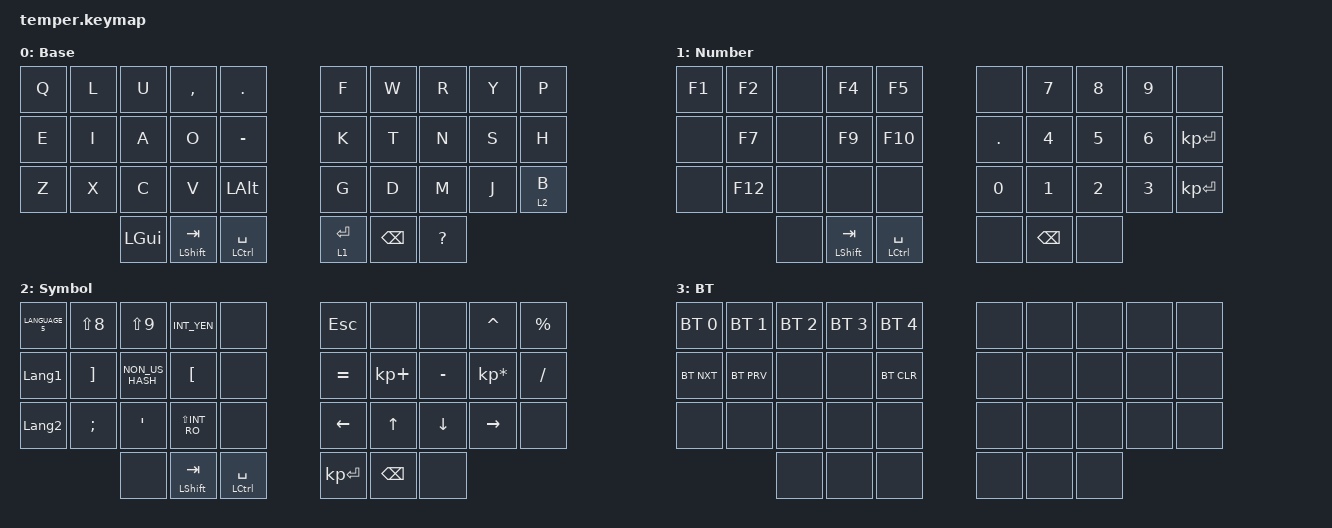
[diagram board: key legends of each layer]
#include <behaviors.dtsi>
#include <dt-bindings/zmk/bt.h>
#include <dt-bindings/zmk/keys.h>

/ {
    combos {
        compatible = "zmk,combos";

        comb.exc {
            bindings = <&kp EXCLAMATION>;
            key-positions = <35 31>;
        };

        comb.del {
            bindings = <&kp DELETE>;
            key-positions = <31 34>;
        };

        layer {
            bindings = <&mo 3>;
            key-positions = <24 23>;
        };
    };

    keymap {
        compatible = "zmk,keymap";

        layer_0 {
            display-name = "Base";
            bindings = <
&kp Q  &kp L  &kp U     &kp COMMA           &kp PERIOD              &kp F        &kp W          &kp R         &kp Y  &kp P
&kp E  &kp I  &kp A     &kp O               &kp MINUS               &kp K        &kp T          &kp N         &kp S  &kp H
&kp Z  &kp X  &kp C     &kp V               &kp LEFT_ALT            &kp G        &kp D          &kp M         &kp J  &lt 2 B
              &kp LGUI  &mt LEFT_SHIFT TAB  &mt LEFT_CONTROL SPACE  &lt 1 ENTER  &kp BACKSPACE  &kp QUESTION
            >;
        };

        layer_1 {
            display-name = "Number";
            bindings = <
&kp F1  &kp F2   &none  &kp F4              &kp F5                  &none    &kp N7         &kp N8        &kp N9        &none
&none   &kp F7   &none  &kp F9              &kp F10                 &kp DOT  &kp NUMBER_4   &kp N5        &kp NUMBER_6  &kp KP_ENTER
&none   &kp F12  &none  &none               &none                   &kp N0   &kp NUMBER_1   &kp NUMBER_2  &kp NUMBER_3  &kp KP_ENTER
                 &none  &mt LEFT_SHIFT TAB  &mt LEFT_CONTROL SPACE  &none    &kp BACKSPACE  &none
            >;
        };

        layer_2 {
            display-name = "Symbol";
            bindings = <
&kp LANGUAGE_5  &kp LS(N8)         &kp LS(N9)       &kp INT_YEN         &none                   &kp ESC       &none          &none      &kp CARET        &kp PERCENT
&kp LANGUAGE_1  &kp RIGHT_BRACKET  &kp NON_US_HASH  &kp LEFT_BRACKET    &none                   &kp EQUAL     &kp KP_PLUS    &kp MINUS  &kp KP_ASTERISK  &kp SLASH
&kp LANGUAGE_2  &kp SEMICOLON      &kp SQT          &kp LS(INT_RO)      &none                   &kp LEFT      &kp UP         &kp DOWN   &kp RIGHT        &none
                                   &none            &mt LEFT_SHIFT TAB  &mt LEFT_CONTROL SPACE  &kp KP_ENTER  &kp BACKSPACE  &none
            >;
        };

        layer_3 {
            display-name = "BT";
            bindings = <
&bt BT_SEL 0  &bt BT_SEL 1  &bt BT_SEL 2  &bt BT_SEL 3  &bt BT_SEL 4  &none  &none  &none  &none  &none
&bt BT_NXT    &bt BT_PRV    &none         &none         &bt BT_CLR    &none  &none  &none  &none  &none
&none         &none         &none         &none         &none         &none  &none  &none  &none  &none
                            &none         &none         &none         &none  &none  &none
            >;
        };
    };
};
